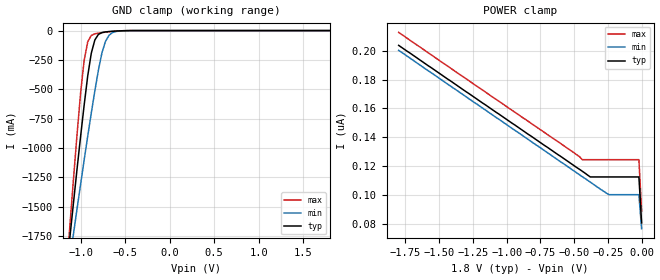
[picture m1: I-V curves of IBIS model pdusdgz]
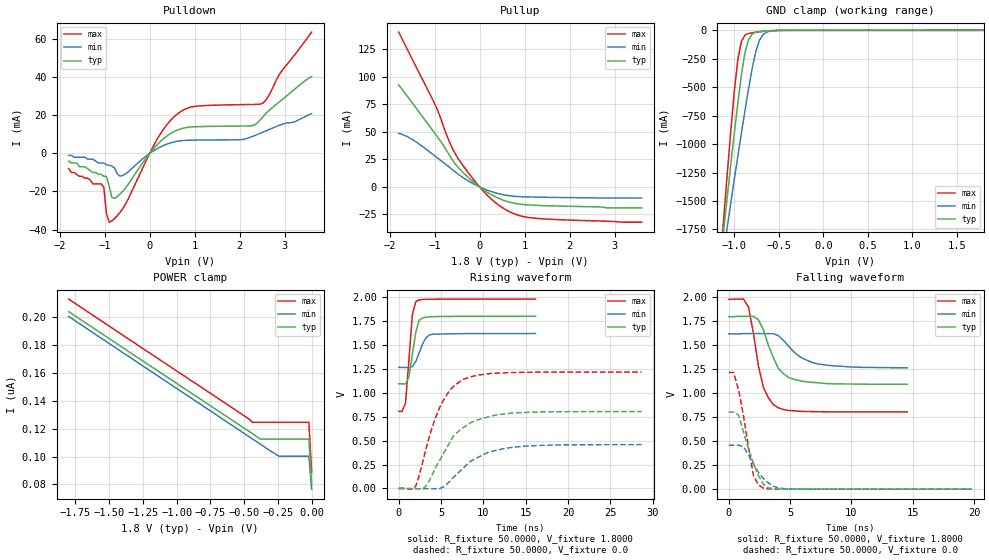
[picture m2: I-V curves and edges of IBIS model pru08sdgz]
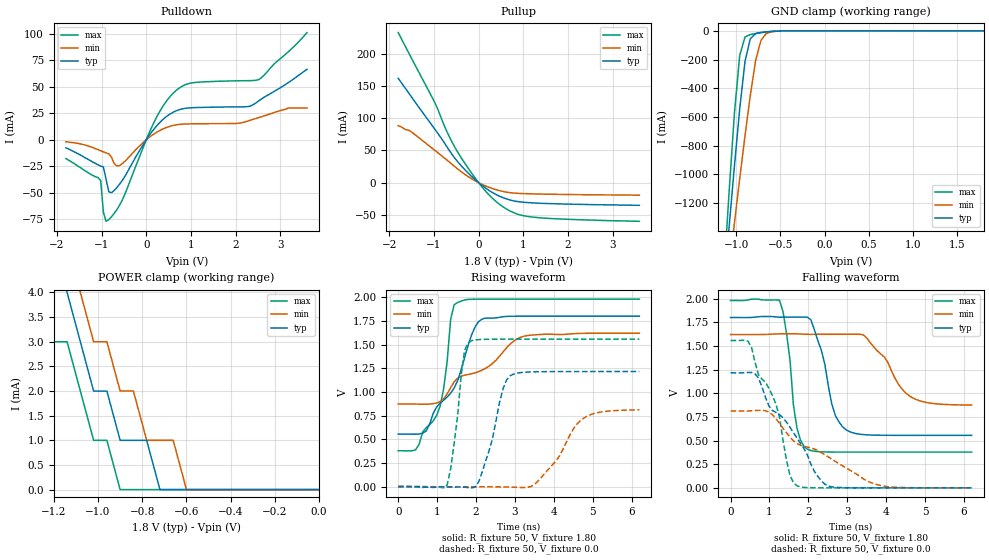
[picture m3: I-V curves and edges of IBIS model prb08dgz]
[IBIS ver]   4.2
[File name]   ksz9031rnx_1v8.ibs
[File rev]   0.3
[Date]   November 28, 2012
[Source]   Made by TSMC 65nm IBIS model file
[Notes]   This model is for DVDDH (IO power) at 1.8V.  For different
   IO voltage, use the appropriate model.
[Disclaimer]  This information is for modeling purpose only and is
   not guaranteed
[Copyright]   Copyright 2012, Micrel - LAN Solutions, All Rights Reserved.
|   Component ksz9031rnx_1v8
[Component]   ksz9031rnx_1v8
[Manufacturer]  Micrel
[Package]
|variable   typical   Min   Max
R_pkg   1.46e-01   1.25e-01   1.67e-01
L_pkg   1.45e-09   1.19e-09   1.72e-09
C_pkg   1.74e-13   1.63e-13   1.85e-13
|   Note:   48 pin MLF package
[pin]   signal_name   model_name   R_pin   L_pin   C_pin
1   AVDDH   POWER
2   TXRXP_A   NC
3   TXRXM_A   NC
4   AVDDL   POWER
5   TXRXP_B   NC
6   TXRXM_B   NC
7   TXRXP_C   NC
8   TXRXM_C   NC
9   AVDDL   POWER
10   TXRXP_D   NC
11   TXRXM_D   NC
12   AVDDH   POWER
13   NC   NC
14   DVDDL   POWER
15   LED2   prb08dgz
16   DVDDH   POWER
17   LED1   prb08dgz
18   DVDDL   POWER
19   TXD0   prb08dgz
20   TXD1   prb08dgz
21   TXD2   prb08dgz
22   TXD3   prb08dgz
23   DVDDL   POWER
24   GTX_CLK   prb08dgz
25   TX_EN   prb08dgz
26   DVDDL   POWER
27   RXD3   prb08dgz
28   RXD2   prb08dgz
29   VSS   GND
30   DVDDL   POWER
31   RXD1   prb08dgz
32   RXD0   prb08dgz
33   RX_DV   prb08dgz
34   DVDDH   POWER
35   RX_CLK   prb08dgz
36   MDC   pru08sdgz
37   MDIO   pru08sdgz
38   INT_N   prb08dgz
39   DVDDL   POWER
40   DVDDH   POWER
41   CLK125_NDO   prb08dgz
42   RESET_N   pdusdgz
43   LDO_O   NC
44   AVDDL_PLL   POWER
45   XO   NC
46   XI   NC
47   NC   NC
48   ISET   NC
| Models and submodels in the file (3): pdusdgz (Input), pru08sdgz (I/O), prb08dgz (I/O)
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|   Model pdusdgz
[Model]  pdusdgz
Model_type Input
Polarity   Non-Inverting
Vinl =   0.7V
Vinh =   1.1V
C_comp   3.4057pF   3.3712pF   3.5324pF
[Temperature Range]   25.0000   0.1250k   -40.0000
[Voltage Range]   1.8000V   1.6200V   1.9800V
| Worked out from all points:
|   GND clamp passes 1 mA (typ) near -0.51 V on its own axis
[GND_clamp]
|Voltage   I(typ)   I(min)   I(max)
-1.8V     -6.984A    -5.728A    -8.876A
-1.12V    -1.759A    -1.947A    -1.659A
-1.08V    -1.467A    -1.732A    -1.266A
-1V       -901.6mA   -1.309A    -532.1mA
-960mV    -634.3mA   -1.102A    -253.8mA
-920mV    -385.9mA   -899.4mA   -96.19mA
-880mV    -192.9mA   -702.4mA   -41.25mA
-840mV    -80.03mA   -513.8mA   -27.36mA
-760mV    -17.03mA   -188.3mA   -17.37mA
-720mV    -11.28mA   -90.79mA   -13.52mA
-640mV    -5.737mA   -16.61mA   -7.024mA
1.8V      80.66nA    2.74uA     118nA
[POWER_clamp]
|Voltage   I(typ)   I(min)   I(max)
-1.8V     203.8nA    200.3nA    212.8nA
-620mV    128nA      124.3nA    137nA
-460mV    117.8nA    114nA      126.6nA
-440mV    116.5nA    112.7nA    124.5nA
-380mV    112.5nA    108.9nA    124.5nA
-240mV    112.5nA    100.2nA    124.5nA
-20mV     112.5nA    100.2nA    124.5nA
0V        80.66nA    76.63nA    88.88nA
|   Model pru08sdgz
[Model]  pru08sdgz
Model_type I/O
Polarity   Non-Inverting
Enable   Active-Low
Vinl =   0.7V
Vinh =   1.1V
Vmeas =  0.9V
Cref =   15pF
Rref =   1.0000M
Vref =   0.0V
C_comp   3.1825pF   3.1140pF   3.3261pF
[Temperature Range]   25.0000   0.1250k   -40.0000
[Voltage Range]   1.8000V   1.6200V   1.9800V
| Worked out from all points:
|   slope of the pulldown table from 0 to 0.27 V, typ, clamps not added: 38.6 ohm
|   slope of the pullup table from 0 to 0.27 V, typ, clamps not added: 37.3 ohm
|   GND clamp passes 1 mA (typ) near -0.51 V on its own axis
|   rising waveform, R_fixture 50.0000, V_fixture 1.8000: 20-80 % time 776ps typ, 996ps min, 614ps max; typ from 1.09 V to 1.8 V
|   rising waveform, R_fixture 50.0000, V_fixture 0.0: 20-80 % time 3.7ns typ, 4.09ns min, 2.91ns max; typ from 0 V to 0.804 V
|   falling waveform, R_fixture 50.0000, V_fixture 1.8000: 20-80 % time 1.4ns typ, 2.05ns min, 1.07ns max; typ from 1.8 V to 1.09 V
|   falling waveform, R_fixture 50.0000, V_fixture 0.0: 20-80 % time 1.26ns typ, 1.43ns min, 981ps max; typ from 0.804 V to 0 V
[Pulldown]
|Voltage   I(typ)   I(min)   I(max)
-1.8V     -4mA       -1mA       -8mA
-1.02V    -12mA      -5mA       -17.7mA
-960mV    -12.1mA    -6mA       -31.7mA
-900mV    -17.2mA    -6.2mA     -36.14mA
-840mV    -23.07mA   -6.6mA     -35.46mA
-600mV    -19.91mA   -11.64mA   -29.11mA
120mV     3.436mA    1.877mA    5.532mA
540mV     11.48mA    6.034mA    19.2mA
960mV     13.99mA    7.011mA    24.59mA
2.28V     14.63mA    8.897mA    25.76mA
2.52V     19.34mA    11.22mA    26.51mA
3.6V      40.4mA     21mA       63.82mA
[Pullup]
|Voltage   I(typ)   I(min)   I(max)
-1.8V     92.51mA    48.6mA     140.5mA
-1.5V     76.37mA    43.15mA    116.1mA
-960mV    46.61mA    27.01mA    71.96mA
-720mV    31.98mA    19.41mA    45.66mA
-540mV    20.72mA    13.61mA    29.83mA
-360mV    12.72mA    8.196mA    18.78mA
-60mV     1.91mA     1.176mA    2.942mA
180mV     -5.088mA   -3.071mA   -7.983mA
360mV     -9.16mA    -5.462mA   -14.53mA
720mV     -14.4mA    -8.279mA   -23.58mA
1.08V     -16.31mA   -9.069mA   -27.66mA
3.6V      -19mA      -10mA      -32mA
[GND_clamp]
|Voltage   I(typ)   I(min)   I(max)
-1.8V     -6.984A    -5.728A    -8.876A
-1.12V    -1.759A    -1.947A    -1.659A
-1.08V    -1.467A    -1.732A    -1.266A
-1V       -901.6mA   -1.309A    -532.1mA
-960mV    -634.3mA   -1.102A    -253.8mA
-920mV    -385.9mA   -899.4mA   -96.19mA
-880mV    -192.9mA   -702.4mA   -41.25mA
-840mV    -80.03mA   -513.8mA   -27.36mA
-760mV    -17.03mA   -188.3mA   -17.37mA
-720mV    -11.28mA   -90.79mA   -13.52mA
-640mV    -5.737mA   -16.61mA   -7.024mA
1.8V      80.66nA    2.765uA    118nA
[POWER_clamp]
|Voltage   I(typ)   I(min)   I(max)
-1.8V     203.8nA    200.3nA    212.8nA
-620mV    128nA      124.3nA    137nA
-460mV    117.8nA    114nA      126.6nA
-440mV    116.5nA    112.7nA    124.5nA
-380mV    112.5nA    108.9nA    124.5nA
-240mV    112.5nA    100.2nA    124.5nA
-20mV     112.5nA    100.2nA    124.5nA
0V        80.66nA    76.63nA    88.88nA
[Ramp]
| variable   typ   min   max
dV/dt_r  0.4822/3.6555n   0.2748/4.0495n   0.7299/2.8784n
dV/dt_f  0.4230/1.3850n   0.2124/2.0295n   0.7040/1.0556n
R_load = 50.0000
[Rising Waveform]
R_fixture= 50.0000
V_fixture= 1.8000
V_fixture_min= 1.6200
V_fixture_max= 1.9800
L_fixture= 0.0H
C_fixture= 0.0F
|time   V(typ)   V(min)   V(max)
0s        1.095V     1.266V     806.6mV
400ps     1.094V     1.266V     805.7mV
810ps     1.093V     1.265V     893mV
1.21ns    1.166V     1.264V     1.342V
1.62ns    1.405V     1.275V     1.82V
2.02ns    1.632V     1.326V     1.953V
2.42ns    1.758V     1.418V     1.971V
3.23ns    1.791V     1.576V     1.977V
4.04ns    1.796V     1.614V     1.978V
16.16ns   1.8V       1.62V      1.98V
|16.57nS   1.8000V   1.6200V   1.9800V
|16.97nS   1.8000V   1.6200V   1.9800V
|17.37nS   1.8000V   1.6200V   1.9800V
|17.78nS   1.8000V   1.6200V   1.9800V
|18.18nS   1.8000V   1.6200V   1.9800V
|18.59nS   1.8000V   1.6200V   1.9800V
|18.99nS   1.8000V   1.6200V   1.9800V
|19.39nS   1.8000V   1.6200V   1.9800V
|19.80nS   1.8000V   1.6200V   1.9800V
|20.20nS   1.8000V   1.6200V   1.9800V
|20.61nS   1.8000V   1.6200V   1.9800V
|21.01nS   1.8000V   1.6200V   1.9800V
|21.41nS   1.8000V   1.6200V   1.9800V
|21.82nS   1.8000V   1.6200V   1.9800V
|22.22nS   1.8000V   1.6200V   1.9800V
|22.63nS   1.8000V   1.6200V   1.9800V
|23.03nS   1.8000V   1.6200V   1.9800V
|23.43nS   1.8000V   1.6200V   1.9800V
|23.84nS   1.8000V   1.6200V   1.9800V
|24.24nS   1.8000V   1.6200V   1.9800V
|24.65nS   1.8000V   1.6200V   1.9800V
|25.05nS   1.8000V   1.6200V   1.9800V
|25.45nS   1.8000V   1.6200V   1.9800V
|25.86nS   1.8000V   1.6200V   1.9800V
|26.26nS   1.8000V   1.6200V   1.9800V
|26.67nS   1.8000V   1.6200V   1.9800V
|27.07nS   1.8000V   1.6200V   1.9800V
|27.47nS   1.8000V   1.6200V   1.9800V
|27.88nS   1.8000V   1.6200V   1.9800V
|28.28nS   1.8000V   1.6200V   1.9800V
|28.69nS   1.8000V   1.6200V   1.9800V
|29.09nS   1.8000V   1.6200V   1.9800V
|29.49nS   1.8000V   1.6200V   1.9800V
|29.90nS   1.8000V   1.6200V   1.9800V
|30.30nS   1.8000V   1.6200V   1.9800V
|30.71nS   1.8000V   1.6200V   1.9800V
|31.11nS   1.8000V   1.6200V   1.9800V
|31.52nS   1.8000V   1.6200V   1.9800V
|31.92nS   1.8000V   1.6200V   1.9800V
|32.32nS   1.8000V   1.6200V   1.9800V
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[Rising Waveform]
R_fixture= 50.0000
V_fixture= 0.0
V_fixture_min= 0.0
V_fixture_max= 0.0
L_fixture= 0.0H
C_fixture= 0.0F
|time   V(typ)   V(min)   V(max)
0s        412.5uV    281.9uV    567.5uV
2.02ns    -2.465mV   -2.143mV   25.27mV
3.23ns    28.08mV    -2.026mV   417.7mV
4.04ns    158mV      -1.746mV   661.7mV
4.85ns    296.8mV    -905.2uV   848.9mV
6.06ns    484.9mV    77.93mV    1.031V
7.68ns    639mV      216.8mV    1.142V
10.51ns   746.2mV    375.7mV    1.198V
12.93ns   783.3mV    424.2mV    1.211V
28.69ns   804mV      458.3mV    1.217V
|29.09nS   0.8040V   0.4583V   1.2170V
|29.49nS   0.8040V   0.4583V   1.2170V
|29.90nS   0.8040V   0.4582V   1.2170V
|30.30nS   0.8040V   0.4582V   1.2170V
|30.71nS   0.8040V   0.4583V   1.2170V
|31.11nS   0.8040V   0.4583V   1.2170V
|31.52nS   0.8040V   0.4583V   1.2170V
|31.92nS   0.8040V   0.4583V   1.2170V
|32.32nS   0.8040V   0.4583V   1.2170V
|32.73nS   0.8040V   0.4583V   1.2170V
|33.13nS   0.8040V   0.4583V   1.2170V
|33.54nS   0.8040V   0.4583V   1.2170V
|33.94nS   0.8040V   0.4583V   1.2170V
|34.34nS   0.8040V   0.4583V   1.2170V
|34.75nS   0.8040V   0.4583V   1.2170V
|35.15nS   0.8040V   0.4583V   1.2170V
|35.56nS   0.8040V   0.4583V   1.2170V
|35.96nS   0.8040V   0.4583V   1.2170V
|36.36nS   0.8040V   0.4583V   1.2170V
|36.77nS   0.8040V   0.4583V   1.2170V
|37.17nS   0.8040V   0.4583V   1.2170V
|37.58nS   0.8040V   0.4583V   1.2170V
|37.98nS   0.8040V   0.4583V   1.2170V
|38.38nS   0.8040V   0.4583V   1.2170V
|38.79nS   0.8040V   0.4583V   1.2170V
|39.19nS   0.8040V   0.4583V   1.2170V
|39.60nS   0.8040V   0.4583V   1.2170V
|40.00nS   0.8040V   0.4583V   1.2170V
[Falling Waveform]
R_fixture= 50.0000
V_fixture= 1.8000
V_fixture_min= 1.6200
V_fixture_max= 1.9800
L_fixture= 0.0H
C_fixture= 0.0F
|time   V(typ)   V(min)   V(max)
0s        1.8V       1.62V      1.98V
1.21ns    1.803V     1.623V     1.983V
1.62ns    1.803V     1.623V     1.897V
2.42ns    1.768V     1.623V     1.288V
2.83ns    1.662V     1.622V     1.063V
3.64ns    1.374V     1.622V     882mV
4.04ns    1.262V     1.602V     849.8mV
4.85ns    1.168V     1.498V     821.6mV
6.87ns    1.114V     1.319V     809.1mV
14.55ns   1.095V     1.266V     806.6mV
|14.95nS   1.0950V   1.2660V   0.8066V
|15.35nS   1.0950V   1.2660V   0.8066V
|15.76nS   1.0950V   1.2660V   0.8066V
|16.16nS   1.0950V   1.2660V   0.8066V
|16.57nS   1.0950V   1.2660V   0.8066V
|16.97nS   1.0950V   1.2660V   0.8066V
|17.37nS   1.0950V   1.2660V   0.8066V
|17.78nS   1.0950V   1.2660V   0.8066V
|18.18nS   1.0950V   1.2660V   0.8066V
|18.59nS   1.0950V   1.2660V   0.8066V
|18.99nS   1.0950V   1.2660V   0.8066V
|19.39nS   1.0950V   1.2660V   0.8066V
|19.80nS   1.0950V   1.2660V   0.8066V
|20.20nS   1.0950V   1.2660V   0.8066V
|20.61nS   1.0950V   1.2660V   0.8066V
|21.01nS   1.0950V   1.2660V   0.8066V
|21.41nS   1.0950V   1.2660V   0.8066V
|21.82nS   1.0950V   1.2660V   0.8066V
|22.22nS   1.0950V   1.2660V   0.8066V
|22.63nS   1.0950V   1.2660V   0.8066V
|23.03nS   1.0950V   1.2660V   0.8066V
|23.43nS   1.0950V   1.2660V   0.8066V
|23.84nS   1.0950V   1.2660V   0.8066V
|24.24nS   1.0950V   1.2660V   0.8066V
|24.65nS   1.0950V   1.2660V   0.8066V
|25.05nS   1.0950V   1.2660V   0.8066V
|25.45nS   1.0950V   1.2660V   0.8066V
|25.86nS   1.0950V   1.2660V   0.8066V
|26.26nS   1.0950V   1.2660V   0.8066V
|26.67nS   1.0950V   1.2660V   0.8066V
|27.07nS   1.0950V   1.2660V   0.8066V
|27.47nS   1.0950V   1.2660V   0.8066V
|27.88nS   1.0950V   1.2660V   0.8066V
|28.28nS   1.0950V   1.2660V   0.8066V
|28.69nS   1.0950V   1.2660V   0.8066V
|29.09nS   1.0950V   1.2660V   0.8066V
|29.49nS   1.0950V   1.2660V   0.8066V
|29.90nS   1.0950V   1.2660V   0.8066V
|30.30nS   1.0950V   1.2660V   0.8066V
|30.71nS   1.0950V   1.2660V   0.8066V
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[Falling Waveform]
R_fixture= 50.0000
V_fixture= 0.0
V_fixture_min= 0.0
V_fixture_max= 0.0
L_fixture= 0.0H
C_fixture= 0.0F
|time   V(typ)   V(min)   V(max)
0s        804mV      458.3mV    1.217V
400ps     803.9mV    458.3mV    1.218V
810ps     773.1mV    459mV      1.034V
1.21ns    594.8mV    441.6mV    762.6mV
2.02ns    271.3mV    259.3mV    142.6mV
2.42ns    142.6mV    175.5mV    44.96mV
2.83ns    51.6mV     112mV      11.48mV
3.64ns    5.864mV    31.37mV    1.773mV
4.85ns    682.6uV    3.571mV    626.1uV
19.8ns    416.1uV    282.4uV    570uV
|   Model prb08dgz
[Model]   prb08dgz
Model_type   I/O
Polarity   Non-Inverting
Enable   Active-Low
Vinl =   0.7V
Vinh =   1.1V
Vmeas =  0.9V
Cref =   15pF
Rref =   1.0000M
Vref =   0.0V
C_comp   3.1819pF   3.1134pF   3.3254pF
[Temperature Range]   25.0000   0.1250k   -40.0000
[Voltage Range]   1.8000V   1.6200V   1.9800V
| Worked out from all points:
|   slope of the pulldown table from 0 to 0.27 V, typ, clamps not added: 18.2 ohm
|   slope of the pullup table from 0 to 0.27 V, typ, clamps not added: 19.8 ohm
|   GND clamp passes 1 mA (typ) near -0.48 V on its own axis
|   POWER clamp passes 1 mA (typ) near -0.78 V on its own axis
|   rising waveform, R_fixture 50, V_fixture 1.80: 20-80 % time 905ps typ, 1.48ns min, 419ps max; typ from 0.555 V to 1.8 V
|   rising waveform, R_fixture 50, V_fixture 0.0: 20-80 % time 430ps typ, 757ps min, 253ps max; typ from 0 V to 1.22 V
|   falling waveform, R_fixture 50, V_fixture 1.80: 20-80 % time 417ps typ, 733ps min, 254ps max; typ from 1.8 V to 0.555 V
|   falling waveform, R_fixture 50, V_fixture 0.0: 20-80 % time 1.19ns typ, 1.86ns min, 746ps max; typ from 1.22 V to 0 V
[Pulldown]
| voltage   I(typ)   I(min)   I(max)
-1.8V     -7.6mA     -1.9mA     -17.7mA
-1.02V    -24.8mA    -10.4mA    -38.5mA
-960mV    -25.7mA    -11.4mA    -68.5mA
-900mV    -37.3mA    -12.4mA    -77mA
-840mV    -49.1mA    -13.2mA    -75.4mA
-720mV    -47.9mA    -22.3mA    -69.6mA
-540mV    -38.6mA    -22.6mA    -57.2mA
180mV     10.5mA     5.7mA      17.1mA
660mV     27.2mA     14.1mA     46.3mA
1.08V     30.4mA     15.1mA     54.1mA
2.52V     36.8mA     21mA       56.9mA
3.6V      66.6mA     30mA       101.3mA
[Pullup]
| voltage   I(typ)   I(min)   I(max)
-1.8V     162mA      88.4mA     233mA
-1.56V    138.6mA    81.4mA     200.8mA
-1.02V    86.8mA     52.3mA     129.6mA
-900mV    75.3mA     45.7mA     111.7mA
-720mV    56.8mA     35.7mA     80.8mA
-480mV    33.5mA     21.9mA     48.8mA
0V        0A         0A         0A
180mV     -9.6mA     -5.8mA     -15.1mA
420mV     -19.4mA    -11.5mA    -31mA
780mV     -28.2mA    -16.1mA    -46.4mA
1.14V     -31.1mA    -17.3mA    -52.9mA
3.6V      -35.2mA    -19.5mA    -60mA
[GND_clamp]
| voltage   I(typ)   I(min)   I(max)
-1.8V     -6.918A    -5.683A    -8.766A
-1.14V    -1.809A    -1.986A    -1.715A
-1.08V    -1.369A    -1.662A    -1.124A
-1.02V    -944mA     -1.343A    -576mA
-960mV    -545mA     -1.031A    -171mA
-900mV    -213mA     -731mA     -43mA
-840mV    -55mA      -450mA     -26mA
-780mV    -19mA      -207mA     -19mA
-720mV    -11mA      -67mA      -13mA
-660mV    -7mA       -19mA      -9mA
-420mV    0A         0A         0A
1.8V      0A         0A         0A
[POWER_clamp]
| voltage   I(typ)   I(min)   I(max)
-1.8V     15mA       14mA       16mA
-1.26V    5mA        6mA        4mA
-1.14V    4mA        5mA        3mA
-1.02V    2mA        3mA        1mA
-960mV    2mA        3mA        1mA
-900mV    1mA        2mA        0A
-840mV    1mA        2mA        0A
-780mV    1mA        1mA        0A
-720mV    0A         1mA        0A
-660mV    0A         1mA        0A
-600mV    0A         0A         0A
0V        0A         0A         0A
[Ramp]
| variable   typ   min   max
dV/dt_r   0.747/910.11p   0.448/1475.74p   0.961/413.75p
dV/dt_f   0.747/409.31p   0.447/732.60p   0.961/248.15p
R_load = 50
[Rising Waveform]
R_fixture = 50
V_fixture = 1.80
V_fixture_min = 1.62
V_fixture_max = 1.98
L_fixture = 0.0H
C_fixture = 0.0F
| time   V(typ)   V(Min)   V(max)
0s        554.6mV    872.8mV    378.2mV
449ps     553mV      871.3mV    388.9mV
719ps     587.3mV    870.2mV    622.4mV
988ps     840.8mV    883.3mV    750.6mV
1.168ns   912mV      926.3mV    1.034V
1.348ns   986.5mV    1.044V     1.767V
1.528ns   1.119V     1.145V     1.945V
2.157ns   1.769V     1.23V      1.98V
3.235ns   1.8V       1.589V     1.98V
6.2ns     1.8V       1.62V      1.98V
[Rising Waveform]
R_fixture = 50
V_fixture = 0.0
V_fixture_min = 0.0
V_fixture_max = 0.0
L_fixture = 0.0H
C_fixture = 0.0F
| time   V(typ)   V(Min)   V(max)
0s        0V         0V         0V
1.258ns   -3.3mV     -4.7mV     17mV
1.438ns   -3.8mV     -7.1mV     453.7mV
1.707ns   -6.9mV     -2.2mV     1.438V
1.797ns   -10.8mV    -1.9mV     1.519V
2.067ns   49.4mV     -2.5mV     1.552V
2.875ns   1.169V     -5.1mV     1.557V
3.594ns   1.213V     57.4mV     1.557V
4.762ns   1.215V     720.9mV    1.557V
6.2ns     1.215V     810.3mV    1.557V
[Falling Waveform]
R_fixture = 50
V_fixture = 1.80
V_fixture_min = 1.62
V_fixture_max = 1.98
| time   V(typ)   V(Min)   V(max)
0s        1.8V       1.62V      1.98V
1.258ns   1.803V     1.627V     1.983V
1.438ns   1.804V     1.627V     1.637V
1.707ns   1.804V     1.627V     633.2mV
1.977ns   1.804V     1.623V     407.2mV
2.696ns   763mV      1.623V     378.4mV
2.965ns   615.3mV    1.623V     378.2mV
3.504ns   560.4mV    1.583V     378.2mV
4.672ns   554.7mV    953mV      378.2mV
6.2ns     554.6mV    874.9mV    378.2mV
[Falling Waveform]
R_fixture = 50
V_fixture = 0.0
V_fixture_min = 0.0
V_fixture_max = 0.0
| time   V(typ)   V(Min)   V(max)
0s        1.215V     813mV      1.557V
539ps     1.219V     814.9mV    1.484V
719ps     1.16V      819.3mV    1.194V
988ps     865.1mV    800.2mV    1.05V
1.168ns   797.2mV    731.4mV    884.4mV
1.528ns   640.4mV    536.8mV    131.4mV
1.707ns   527.1mV    469.4mV    22.7mV
2.516ns   19.6mV     326.2mV    100uV
3.864ns   0V         24.7mV     0V
6.2ns     0V         0V         0V
